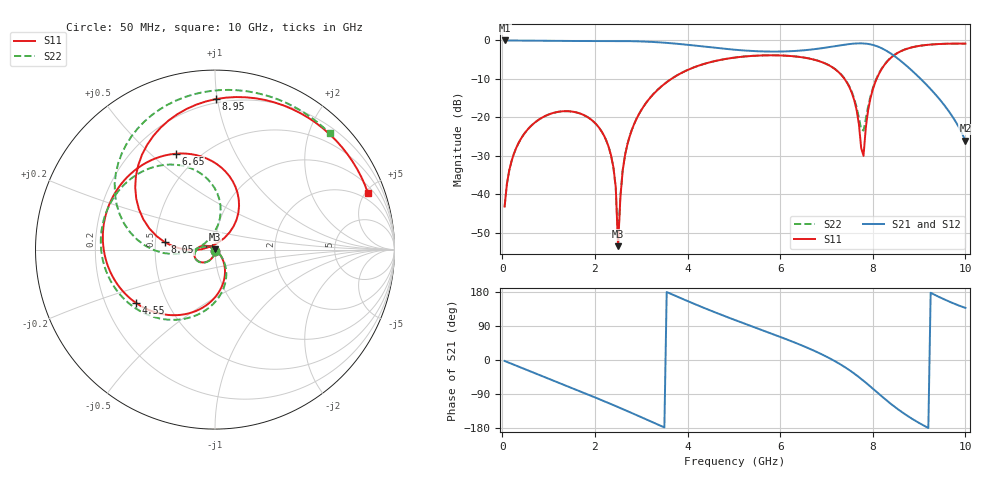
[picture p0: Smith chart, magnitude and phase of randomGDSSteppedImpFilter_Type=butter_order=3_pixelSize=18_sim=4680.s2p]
! freq	dB(S11)	phase(S11)	dB(S12)	phase(S12)
!  dB(S21)	phase(S21)	dB(S22)	phase(S22)
!S-par simulation data
#  GHz  S  DB  R 50
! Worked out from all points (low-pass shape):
!   200 points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, 50 MHz to 10 GHz, reference 50 ohm
!   highest |S21| = 0.00 dB at 50 MHz (marker M1); lowest = -26.1 dB at 10 GHz (marker M2)
!   |S21| within 3 dB of the highest: start of sweep to 8.339 GHz
!   lowest |S11| = -53.5 dB at 2.5 GHz (marker M3), VSWR 1.00, Z = 49.9 + j0.191 ohm
!   |S11| at or under -10 dB: start of sweep to 3.651 GHz; 7.39 GHz to 8.084 GHz (694.2 MHz wide, 8.97 % of centre)
!   |S22| runs from -52.6 to -0.8 dB; largest |S21 - S12| = 0
!   S11 on the Smith chart (normalised r, x): 50 MHz: 1.00, -0.01; 4.55 GHz: 0.33, -0.27; 6.65 GHz: 0.38, +0.60; 8.05 GHz: 0.56, +0.05; 8.95 GHz: 0.18, +0.99; 10 GHz: 1.42, +5.17
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0.05  -43.23 -91.6  -0.00 -2.5  -0.00 -2.5  -43.23 -91.5
0.2  -31.40 -99.9  -0.02 -10.0  -0.02 -10.0  -31.39 -99.6
0.55  -23.14 -118.2  -0.06 -27.2  -0.06 -27.2  -23.14 -117.3
1.75  -19.36 -178.5  -0.15 -86.1  -0.15 -86.1  -19.36 -175.3
2.35  -29.98 149.3  -0.14 -116.4  -0.14 -116.4  -30.04 157.1
2.45  -38.21 141.1  -0.14 -121.6  -0.14 -121.6  -38.34 157.3
2.5  -53.53 114.9  -0.15 -124.2  -0.15 -124.2  -52.64 -165.9
2.6  -33.86 -39.3  -0.16 -129.5  -0.16 -129.5  -33.71 -43.7
2.7  -27.13 -46.2  -0.17 -134.8  -0.17 -134.8  -27.06 -46.2
3.4  -12.34 -85.5  -0.50 -172.5  -0.50 -172.5  -12.32 -81.2
4.55  -5.49 -146.1  -1.86 127.9  -1.86 127.9  -5.47 -138.7
5.05  -4.42 -170.2  -2.45 104.3  -2.45 104.3  -4.40 -161.3
6.65  -4.77 112.4  -2.40 29.0  -2.40 29.0  -4.75 128.1
6.7  -4.90 109.6  -2.33 26.3  -2.33 26.3  -4.89 125.6
7.45  -11.12 61.2  -1.01 -23.0  -1.01 -23.0  -11.01 85.1
7.65  -18.05 49.7  -0.78 -40.4  -0.78 -40.4  -17.34 83.3
7.8  -30.03 148.7  -0.78 -54.8  -0.78 -54.8  -23.47 149.6
7.9  -18.12 -178.6  -0.91 -64.9  -0.91 -64.9  -17.13 -175.5
8.05  -10.99 171.7  -1.34 -80.7  -1.34 -80.7  -10.76 -176.3
8.35  -4.98 142.1  -3.09 -111.7  -3.09 -111.7  -4.93 159.6
8.95  -1.53 89.6  -9.02 -162.6  -9.02 -162.6  -1.52 111.6
10  -0.83 20.5  -26.11 137.6  -26.11 137.6  -0.83 45.4
